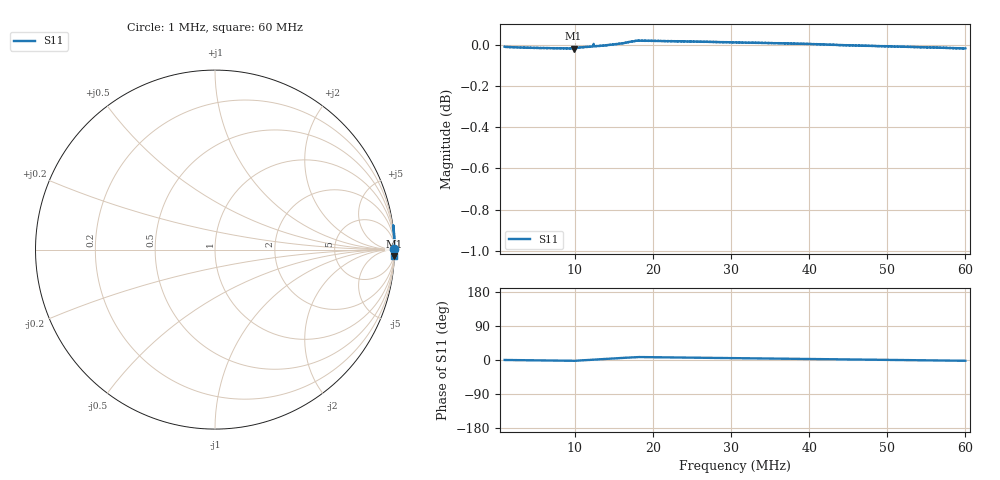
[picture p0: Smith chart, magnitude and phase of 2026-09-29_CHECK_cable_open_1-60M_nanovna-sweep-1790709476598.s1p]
! NanoVNA Web complex sweep
! Processing: unaveraged complex samples; linear segment spacing; no smoothing
# Hz S RI R 50
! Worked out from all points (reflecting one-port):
!   1010 points, 1 MHz to 60 MHz, reference 50 ohm
!   lowest |S11| = 0.0 dB at 9.83 MHz (marker M1), VSWR 968.79, Z = 156 - j2.74e+03 ohm
!   phase of S11 starts at 0 deg and turns -2 deg over the sweep
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1000000  0.999 0.000978
1233896  0.999 -0.000224
3222012  0.9985 -0.00911
8426198  0.9977 -0.0305
9712626  0.9973 -0.0359
9829574  0.9973 -0.0363
9946522  0.9973 -0.0367
1.006347e7  0.9975 -0.0352
1.018042e7  0.9978 -0.0324
1.029737e7  0.998 -0.0299
1.1116e7  0.9988 -0.0119
1.263633e7  0.9991 0.0208
1.439055e7  0.9984 0.0584
1.579392e7  0.9968 0.0887
1.684645e7  0.9954 0.1113
1.772356e7  0.9936 0.1304
1.784051e7  0.9934 0.133
1.795746e7  0.9932 0.1355
1.813288e7  0.9931 0.1358
1.824983e7  0.9932 0.1354
1.836678e7  0.9933 0.1349
2.316165e7  0.9953 0.1153
3.052937e7  0.9978 0.0852
3.789709e7  0.9993 0.0548
4.526482e7  0.9996 0.0245
5.263254e7  0.999 -0.00576
5.941553e7  0.9976 -0.0331
6.000027e7  0.9975 -0.0353
